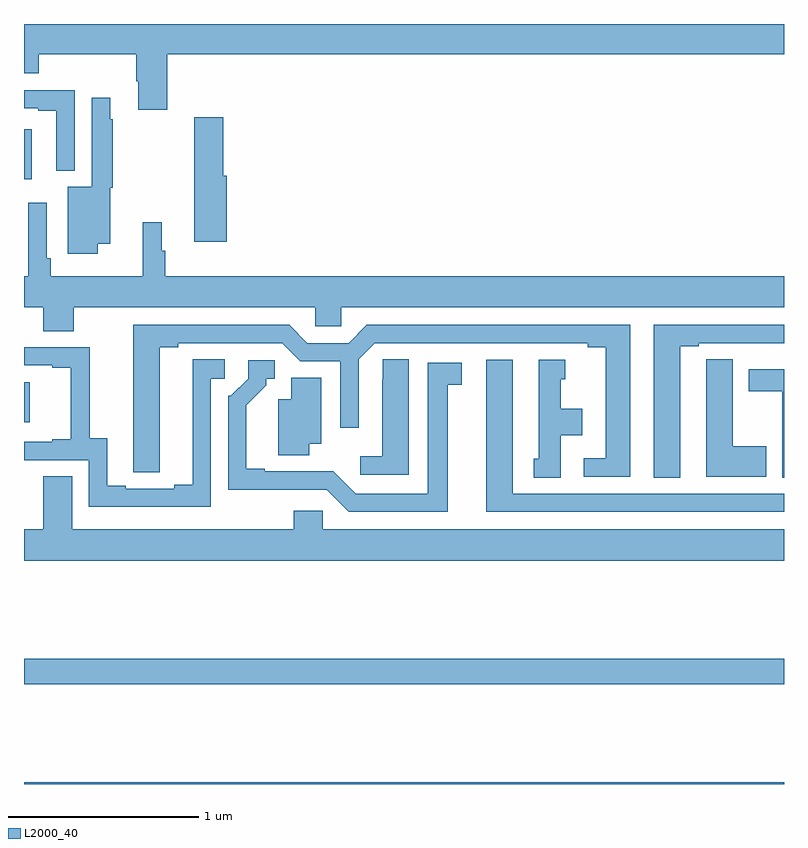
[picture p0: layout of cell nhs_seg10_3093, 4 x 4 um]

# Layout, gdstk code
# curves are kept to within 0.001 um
import gdstk
lib = gdstk.Library(unit=1e-6, precision=1e-09)
def R(c, l, rs):  # rectangles x0, y0, x1, y1
    for r in rs: c.add(gdstk.rectangle(r[:2], r[2:], *l))
def P(c, l, *ps):  # polygons
    for p in ps: c.add(gdstk.Polygon(p, *l))
L2000_40 = (2000, 40)

nhs_seg10_3093 = lib.new_cell('nhs_seg10_3093')
R(nhs_seg10_3093, L2000_40, [(279,1272.5,283,1272.508), (279,1273.024,283,1273.16), (279,1274.405,279.031,1274.614), (279,1275.683,279.04,1275.946)])
P(nhs_seg10_3093, L2000_40, [(279,1276.242),(279.077,1276.242),(279.077,1276.34),(279.59,1276.34),(279.59,1276.198),(279.602,1276.198),(279.602,1276.05),(279.755,1276.05),(279.755,1276.34),(283,1276.34),(283,1276.5),(279,1276.5)],
  [(279.267,1276.152),(279,1276.152),(279,1276.056),(279.074,1276.056),(279.074,1276.044),(279.17,1276.044),(279.17,1275.728),(279.267,1275.728)],
  [(279.388,1275.344),(279.454,1275.344),(279.454,1275.639),(279.466,1275.639),(279.466,1275.998),(279.454,1275.998),(279.454,1276.111),(279.357,1276.111),(279.357,1275.643),(279.23,1275.643),(279.23,1275.291),(279.388,1275.291)],
  [(280.067,1275.702),(280.049,1275.702),(280.049,1276.009),(279.895,1276.009),(279.895,1275.702),(279.896,1275.702),(279.896,1275.354),(280.067,1275.354)],
  [(279.261,1275.008),(280.533,1275.008),(280.533,1274.91),(280.671,1274.91),(280.671,1275.008),(283,1275.008),(283,1275.172),(279.743,1275.172),(279.743,1275.306),(279.724,1275.306),(279.724,1275.457),(279.625,1275.457),(279.625,1275.172),(279.14,1275.172),(279.14,1275.268),(279.12,1275.268),(279.12,1275.559),(279.023,1275.559),(279.023,1275.172),(279,1275.172),(279,1275.008),(279.101,1275.008),(279.101,1274.884),(279.261,1274.884)],
  [(282.454,1274.805),(282.55,1274.805),(282.55,1274.82),(282.826,1274.82),(282.826,1274.819),(282.992,1274.819),(282.992,1274.82),(283,1274.82),(283,1274.916),(282.314,1274.916),(282.314,1274.113),(282.454,1274.113)],
  [(282.19,1274.916),(280.805,1274.916),(280.709,1274.82),(280.491,1274.82),(280.395,1274.916),(279.575,1274.916),(279.576,1274.14),(279.715,1274.14),(279.715,1274.8),(279.811,1274.8),(279.811,1274.82),(280.359,1274.82),(280.455,1274.724),(280.665,1274.724),(280.665,1274.376),(280.761,1274.376),(280.761,1274.736),(280.845,1274.82),(281.966,1274.82),(281.966,1274.8),(282.062,1274.8),(282.062,1274.214),(281.946,1274.214),(281.946,1274.118),(282.19,1274.118)],
  [(279.984,1274.634),(280.057,1274.634),(280.057,1274.735),(279.887,1274.735),(279.887,1274.075),(279.791,1274.075),(279.791,1274.055),(279.535,1274.055),(279.535,1274.07),(279.439,1274.07),(279.439,1274.321),(279.345,1274.321),(279.345,1274.799),(279,1274.799),(279,1274.703),(279.149,1274.703),(279.149,1274.691),(279.245,1274.691),(279.245,1274.314),(279.149,1274.314),(279.149,1274.301),(279,1274.301),(279,1274.205),(279.342,1274.205),(279.342,1273.959),(279.984,1273.959)],
  [(282.907,1274.277),(282.73,1274.277),(282.73,1274.735),(282.591,1274.735),(282.591,1274.627),(282.59,1274.627),(282.59,1274.117),(282.907,1274.117)],
  [(281.026,1274.735),(280.887,1274.735),(280.887,1274.627),(280.886,1274.627),(280.886,1274.224),(280.77,1274.224),(280.77,1274.127),(281.026,1274.127)],
  [(283,1274.028),(281.572,1274.028),(281.572,1274.734),(281.432,1274.734),(281.432,1273.932),(283,1273.932)],
  [(281.824,1274.336),(281.938,1274.336),(281.938,1274.476),(281.824,1274.476),(281.824,1274.631),(281.848,1274.631),(281.848,1274.734),(281.708,1274.734),(281.708,1274.211),(281.684,1274.211),(281.684,1274.113),(281.824,1274.113)],
  [(281.23,1274.602),(281.305,1274.602),(281.305,1274.718),(281.126,1274.718),(281.126,1274.028),(280.746,1274.028),(280.628,1274.146),(280.267,1274.145),(280.267,1274.158),(280.171,1274.158),(280.171,1274.494),(280.276,1274.599),(280.276,1274.634),(280.321,1274.634),(280.321,1274.73),(280.179,1274.73),(280.179,1274.634),(280.089,1274.544),(280.074,1274.544),(280.074,1274.048),(280.593,1274.049),(280.71,1273.932),(281.23,1273.932)],
  [(283,1274.682),(282.815,1274.682),(282.815,1274.566),(282.992,1274.566),(282.992,1274.113),(283,1274.113)],
  [(280.501,1274.291),(280.564,1274.291),(280.564,1274.639),(280.406,1274.639),(280.406,1274.524),(280.337,1274.524),(280.337,1274.23),(280.501,1274.23)],
  [(283,1273.84),(280.572,1273.84),(280.572,1273.938),(280.421,1273.938),(280.421,1273.84),(279.253,1273.84),(279.253,1274.12),(279.101,1274.12),(279.101,1273.84),(279,1273.84),(279,1273.676),(283,1273.676)])

lib.write_gds('nhs_seg10_3093.gds')
